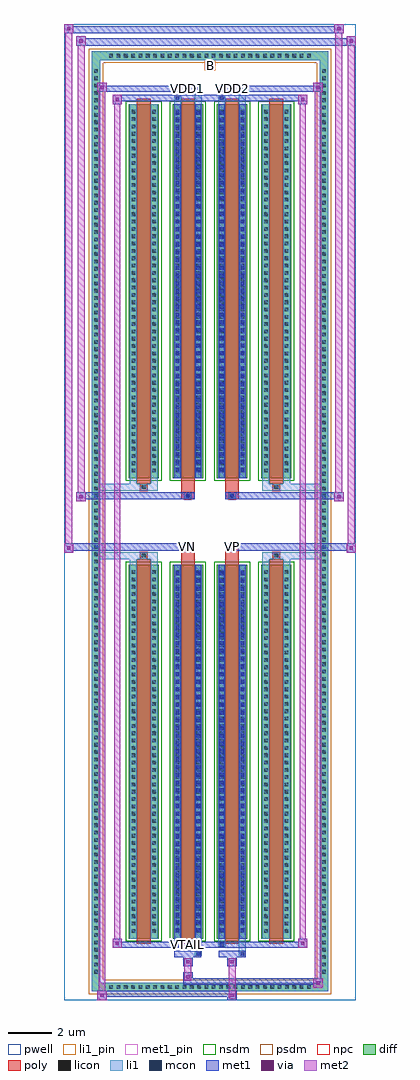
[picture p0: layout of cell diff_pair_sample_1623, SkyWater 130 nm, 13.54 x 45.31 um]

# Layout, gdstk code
import gdstk
lib = gdstk.Library(unit=1e-6, precision=5e-09)
def R(c, l, rs):  # rectangles x0, y0, x1, y1
    for r in rs: c.add(gdstk.rectangle(r[:2], r[2:], *l))
def A(c, l, x, y, w, h, nx, ny, dx, dy):  # array of equal rectangles
    R(c, l, [(x+i*dx, y+j*dy, x+i*dx+w, y+j*dy+h) for i in range(nx) for j in range(ny)])
def P(c, l, *ps):  # polygons
    for p in ps: c.add(gdstk.Polygon(p, *l))
pwell = (64, 44)
diff = (65, 20)
poly = (66, 20)
licon = (66, 44)
li1_pin = (67, 16)
li1 = (67, 20)
mcon = (67, 44)
met1_pin = (68, 16)
met1 = (68, 20)
via = (68, 44)
met2 = (69, 20)
nsdm = (93, 44)
psdm = (94, 20)
npc = (95, 20)

diff_pair_sample_1623 = lib.new_cell('diff_pair_sample_1623')
R(diff_pair_sample_1623, pwell, [(-6.77,-22.22,6.77,23.09), (-4.09,-20.41,-0.01,-0.825), (0.01,-20.41,4.09,-0.825), (-4.09,0.825,-0.01,20.41), (0.01,0.825,4.09,20.41)])
A(diff_pair_sample_1623, diff, -4.795, -21.82, 0.41, 0.41, 28, 2, 0.34, 43.23)
A(diff_pair_sample_1623, diff, -5.5, -21.115, 0.41, 0.41, 1, 124, 0, 0.34)
A(diff_pair_sample_1623, diff, 5.09, -21.115, 0.41, 0.41, 1, 124, 0, 0.34)
A(diff_pair_sample_1623, diff, -3.78, -19.365, 1.41, 17.36, 4, 2, 2.05, 21.37)
R(diff_pair_sample_1623, diff, [(-4.795,-21.82,4.795,-21.41), (-5.5,-21.115,-5.09,21.115), (5.09,-21.115,5.5,21.115), (-4.795,21.41,4.795,21.82)])
P(diff_pair_sample_1623, diff, [(5.5,21.82),(-5.5,21.82),(-5.5,-21.41),(-5.09,-21.41),(-5.09,21.41),(5.09,21.41),(5.09,-21.41),(-5.09,-21.41),(-5.5,-21.41),(-5.5,-21.82),(5.5,-21.82)])
A(diff_pair_sample_1623, poly, -3.39, -19.615, 0.63, 17.86, 4, 2, 2.05, 21.37)
R(diff_pair_sample_1623, poly, [(-3.24,-1.755,-2.91,-1.425), (-3.24,-1.755,-2.91,-1.425), (-1.34,-1.755,-0.71,-1.355), (0.71,-1.755,1.34,-1.355), (2.91,-1.755,3.24,-1.425), (2.91,-1.755,3.24,-1.425), (-1.34,-1.355,-0.71,-1.025), (-1.19,-1.355,-0.86,-1.025), (0.71,-1.355,1.34,-1.025), (0.86,-1.355,1.19,-1.025), (-1.34,1.025,-0.71,1.355), (-1.19,1.025,-0.86,1.355), (0.71,1.025,1.34,1.355), (0.86,1.025,1.19,1.355), (-1.34,1.355,-0.71,1.755), (0.71,1.355,1.34,1.755), (-3.24,1.425,-2.91,1.755), (-3.24,1.425,-2.91,1.755), (2.91,1.425,3.24,1.755), (2.91,1.425,3.24,1.755)])
A(diff_pair_sample_1623, licon, -4.675, -21.7, 0.17, 0.17, 28, 2, 0.34, 43.23)
A(diff_pair_sample_1623, licon, -5.38, -20.995, 0.17, 0.17, 1, 124, 0, 0.34)
A(diff_pair_sample_1623, licon, 5.21, -20.995, 0.17, 0.17, 1, 124, 0, 0.34)
A(diff_pair_sample_1623, licon, -3.64, -19.1, 0.17, 0.17, 1, 50, 0, 0.34)
A(diff_pair_sample_1623, licon, -2.68, -19.1, 0.17, 0.17, 1, 50, 0, 0.34)
A(diff_pair_sample_1623, licon, -1.59, -19.1, 0.17, 0.17, 1, 50, 0, 0.34)
A(diff_pair_sample_1623, licon, -0.63, -19.1, 0.17, 0.17, 1, 50, 0, 0.34)
A(diff_pair_sample_1623, licon, 0.46, -19.1, 0.17, 0.17, 1, 50, 0, 0.34)
A(diff_pair_sample_1623, licon, 1.42, -19.1, 0.17, 0.17, 1, 50, 0, 0.34)
A(diff_pair_sample_1623, licon, 2.51, -19.1, 0.17, 0.17, 1, 50, 0, 0.34)
A(diff_pair_sample_1623, licon, 3.47, -19.1, 0.17, 0.17, 1, 50, 0, 0.34)
A(diff_pair_sample_1623, licon, -3.64, 2.27, 0.17, 0.17, 1, 50, 0, 0.34)
A(diff_pair_sample_1623, licon, -2.68, 2.27, 0.17, 0.17, 1, 50, 0, 0.34)
A(diff_pair_sample_1623, licon, -1.59, 2.27, 0.17, 0.17, 1, 50, 0, 0.34)
A(diff_pair_sample_1623, licon, -0.63, 2.27, 0.17, 0.17, 1, 50, 0, 0.34)
A(diff_pair_sample_1623, licon, 0.46, 2.27, 0.17, 0.17, 1, 50, 0, 0.34)
A(diff_pair_sample_1623, licon, 1.42, 2.27, 0.17, 0.17, 1, 50, 0, 0.34)
A(diff_pair_sample_1623, licon, 2.51, 2.27, 0.17, 0.17, 1, 50, 0, 0.34)
A(diff_pair_sample_1623, licon, 3.47, 2.27, 0.17, 0.17, 1, 50, 0, 0.34)
R(diff_pair_sample_1623, licon, [(-3.16,-1.675,-2.99,-1.505), (2.99,-1.675,3.16,-1.505), (-1.11,-1.275,-0.94,-1.105), (0.94,-1.275,1.11,-1.105), (-1.11,1.105,-0.94,1.275), (0.94,1.105,1.11,1.275), (-3.16,1.505,-2.99,1.675), (2.99,1.505,3.16,1.675)])
R(diff_pair_sample_1623, li1_pin, [(-0.25,20.91,0.25,21.41)])
A(diff_pair_sample_1623, li1, -4.755, -21.78, 0.33, 0.33, 28, 2, 0.34, 43.23)
A(diff_pair_sample_1623, li1, -5.46, -21.075, 0.33, 0.33, 1, 124, 0, 0.34)
A(diff_pair_sample_1623, li1, 5.13, -21.075, 0.33, 0.33, 1, 124, 0, 0.34)
A(diff_pair_sample_1623, li1, -3.72, -19.18, 0.33, 0.33, 1, 50, 0, 0.34)
A(diff_pair_sample_1623, li1, -2.76, -19.18, 0.33, 0.33, 1, 50, 0, 0.34)
A(diff_pair_sample_1623, li1, -1.67, -19.18, 0.33, 0.33, 1, 50, 0, 0.34)
A(diff_pair_sample_1623, li1, -0.71, -19.18, 0.33, 0.33, 1, 50, 0, 0.34)
A(diff_pair_sample_1623, li1, 0.38, -19.18, 0.33, 0.33, 1, 50, 0, 0.34)
A(diff_pair_sample_1623, li1, 1.34, -19.18, 0.33, 0.33, 1, 50, 0, 0.34)
A(diff_pair_sample_1623, li1, 2.43, -19.18, 0.33, 0.33, 1, 50, 0, 0.34)
A(diff_pair_sample_1623, li1, 3.39, -19.18, 0.33, 0.33, 1, 50, 0, 0.34)
A(diff_pair_sample_1623, li1, -1.59, -19.05, 0.17, 0.17, 1, 47, 0, 0.36)
A(diff_pair_sample_1623, li1, -0.63, -19.05, 0.17, 0.17, 1, 47, 0, 0.36)
A(diff_pair_sample_1623, li1, 0.46, -19.05, 0.17, 0.17, 1, 47, 0, 0.36)
A(diff_pair_sample_1623, li1, 1.42, -19.05, 0.17, 0.17, 1, 47, 0, 0.36)
A(diff_pair_sample_1623, li1, -3.72, 2.19, 0.33, 0.33, 1, 50, 0, 0.34)
A(diff_pair_sample_1623, li1, -2.76, 2.19, 0.33, 0.33, 1, 50, 0, 0.34)
A(diff_pair_sample_1623, li1, -1.67, 2.19, 0.33, 0.33, 1, 50, 0, 0.34)
A(diff_pair_sample_1623, li1, -0.71, 2.19, 0.33, 0.33, 1, 50, 0, 0.34)
A(diff_pair_sample_1623, li1, 0.38, 2.19, 0.33, 0.33, 1, 50, 0, 0.34)
A(diff_pair_sample_1623, li1, 1.34, 2.19, 0.33, 0.33, 1, 50, 0, 0.34)
A(diff_pair_sample_1623, li1, 2.43, 2.19, 0.33, 0.33, 1, 50, 0, 0.34)
A(diff_pair_sample_1623, li1, 3.39, 2.19, 0.33, 0.33, 1, 50, 0, 0.34)
A(diff_pair_sample_1623, li1, -1.59, 2.32, 0.17, 0.17, 1, 47, 0, 0.36)
A(diff_pair_sample_1623, li1, -0.63, 2.32, 0.17, 0.17, 1, 47, 0, 0.36)
A(diff_pair_sample_1623, li1, 0.46, 2.32, 0.17, 0.17, 1, 47, 0, 0.36)
A(diff_pair_sample_1623, li1, 1.42, 2.32, 0.17, 0.17, 1, 47, 0, 0.36)
R(diff_pair_sample_1623, li1, [(-5.5,-21.82,-5.09,-21.41), (-5.5,-21.82,-5.09,-21.41), (-5.09,-21.82,5.09,-21.41), (5.09,-21.82,5.5,-21.41), (5.09,-21.82,5.5,-21.41), (-5.5,-21.41,-5.09,21.41), (5.09,-21.41,5.5,21.41), (-0.71,-20.17,-0.38,-19.365), (-0.63,-20.17,-0.46,-20), (1.34,-20.17,1.67,-19.365), (1.42,-20.17,1.59,-20), (-1.67,-19.74,-1.34,-19.365), (-1.59,-19.74,-1.42,-19.57), (0.38,-19.74,0.71,-19.365), (0.46,-19.74,0.63,-19.57), (-3.72,-19.365,-3.39,-2.005), (-2.76,-19.365,-2.43,-2.005), (-1.67,-19.365,-1.34,-2.005), (-0.71,-19.365,-0.38,-2.005), (0.38,-19.365,0.71,-2.005), (1.34,-19.365,1.67,-2.005), (2.43,-19.365,2.76,-2.005), (3.39,-19.365,3.72,-2.005), (-1.59,-19.05,-1.42,-2.32), (-0.63,-19.05,-0.46,-2.32), (0.46,-19.05,0.63,-2.32), (1.42,-19.05,1.59,-2.32), (-3.72,-2.005,-3.39,-1.425), (-2.76,-2.005,-2.43,-1.425), (2.43,-2.005,2.76,-1.425), (3.39,-2.005,3.72,-1.425), (-5.5,-1.755,-3.24,-1.425), (-3.72,-1.755,-3.24,-1.425), (-3.24,-1.755,-2.91,-1.425), (-2.91,-1.755,-2.43,-1.425), (2.43,-1.755,2.91,-1.425), (2.91,-1.755,3.24,-1.425), (2.91,-1.755,5.5,-1.425), (3.24,-1.755,3.72,-1.425), (-1.19,-1.355,-0.86,-1.025), (0.86,-1.355,1.19,-1.025), (-1.19,1.025,-0.86,1.355), (0.86,1.025,1.19,1.355), (-5.5,1.425,-3.24,1.755), (-3.72,1.425,-3.24,1.755), (-3.72,1.425,-3.39,2.005), (-3.24,1.425,-2.91,1.755), (-2.91,1.425,-2.43,1.755), (-2.76,1.425,-2.43,2.005), (2.43,1.425,2.91,1.755), (2.43,1.425,2.76,2.005), (2.91,1.425,3.24,1.755), (2.91,1.425,5.5,1.755), (3.24,1.425,3.72,1.755), (3.39,1.425,3.72,2.005), (-3.72,2.005,-3.39,19.365), (-2.76,2.005,-2.43,19.365), (-1.67,2.005,-1.34,19.365), (-0.71,2.005,-0.38,19.365), (0.38,2.005,0.71,19.365), (1.34,2.005,1.67,19.365), (2.43,2.005,2.76,19.365), (3.39,2.005,3.72,19.365), (-1.59,2.32,-1.42,19.05), (-0.63,2.32,-0.46,19.05), (0.46,2.32,0.63,19.05), (1.42,2.32,1.59,19.05), (-1.67,19.365,-1.34,19.74), (-0.71,19.365,-0.38,20.17), (0.38,19.365,0.71,19.74), (1.34,19.365,1.67,20.17), (-1.59,19.57,-1.42,19.74), (0.46,19.57,0.63,19.74), (-0.63,20,-0.46,20.17), (1.42,20,1.59,20.17), (-5.5,21.41,-5.09,21.82), (-5.5,21.41,-5.09,21.82), (-5.09,21.41,5.09,21.82), (5.09,21.41,5.5,21.82), (5.09,21.41,5.5,21.82)])
A(diff_pair_sample_1623, mcon, -1.59, -19.05, 0.17, 0.17, 1, 47, 0, 0.36)
A(diff_pair_sample_1623, mcon, -0.63, -19.05, 0.17, 0.17, 1, 47, 0, 0.36)
A(diff_pair_sample_1623, mcon, 0.46, -19.05, 0.17, 0.17, 1, 47, 0, 0.36)
A(diff_pair_sample_1623, mcon, 1.42, -19.05, 0.17, 0.17, 1, 47, 0, 0.36)
A(diff_pair_sample_1623, mcon, -1.59, 2.32, 0.17, 0.17, 1, 47, 0, 0.36)
A(diff_pair_sample_1623, mcon, -0.63, 2.32, 0.17, 0.17, 1, 47, 0, 0.36)
A(diff_pair_sample_1623, mcon, 0.46, 2.32, 0.17, 0.17, 1, 47, 0, 0.36)
A(diff_pair_sample_1623, mcon, 1.42, 2.32, 0.17, 0.17, 1, 47, 0, 0.36)
R(diff_pair_sample_1623, mcon, [(-0.63,-20.17,-0.46,-20), (1.42,-20.17,1.59,-20), (-1.59,-19.74,-1.42,-19.57), (0.46,-19.74,0.63,-19.57), (-1.11,-1.275,-0.94,-1.105), (0.94,-1.275,1.11,-1.105), (-1.11,1.105,-0.94,1.275), (0.94,1.105,1.11,1.275), (-1.59,19.57,-1.42,19.74), (0.46,19.57,0.63,19.74), (-0.63,20,-0.46,20.17), (1.42,20,1.59,20.17)])
R(diff_pair_sample_1623, met1_pin, [(-1.16,-19.78,-0.89,-19.51), (-1.16,-1.295,-0.89,-1.025), (0.89,-1.295,1.16,-1.025), (-1.16,19.96,-0.89,20.23), (0.89,19.96,1.16,20.23)])
A(diff_pair_sample_1623, met1, -1.65, -19.11, 0.29, 0.29, 1, 47, 0, 0.36)
A(diff_pair_sample_1623, met1, -0.69, -19.11, 0.29, 0.29, 1, 47, 0, 0.36)
A(diff_pair_sample_1623, met1, 0.4, -19.11, 0.29, 0.29, 1, 47, 0, 0.36)
A(diff_pair_sample_1623, met1, 1.36, -19.11, 0.29, 0.29, 1, 47, 0, 0.36)
A(diff_pair_sample_1623, met1, -1.65, 2.26, 0.29, 0.29, 1, 47, 0, 0.36)
A(diff_pair_sample_1623, met1, -0.69, 2.26, 0.29, 0.29, 1, 47, 0, 0.36)
A(diff_pair_sample_1623, met1, 0.4, 2.26, 0.29, 0.29, 1, 47, 0, 0.36)
A(diff_pair_sample_1623, met1, 1.36, 2.26, 0.29, 0.29, 1, 47, 0, 0.36)
R(diff_pair_sample_1623, met1, [(-5.23,-22.22,-4.8,-21.79), (0.81,-22.22,1.24,-21.79), (-5.23,-22.08,1.24,-21.79), (4.8,-21.65,5.23,-21.22), (-1.24,-21.51,5.23,-21.22), (-1.24,-21.37,-0.81,-20.94), (-1.24,-20.66,-0.81,-20.23), (0.81,-20.66,1.24,-20.23), (-1.65,-20.23,-0.4,-19.94), (-0.69,-20.23,-0.4,-19.94), (0.4,-20.23,1.65,-19.94), (1.36,-20.23,1.65,-19.94), (-4.52,-19.8,-4.09,-19.37), (-4.52,-19.8,-1.65,-19.51), (-1.65,-19.8,-1.36,-19.51), (-1.65,-19.8,-0.4,-19.51), (-0.4,-19.8,0.4,-19.51), (0.4,-19.8,0.69,-19.51), (0.4,-19.8,1.65,-19.51), (1.65,-19.8,4.52,-19.51), (4.09,-19.8,4.52,-19.37), (-1.65,-19.365,-1.36,-2.005), (-0.69,-19.365,-0.4,-2.005), (0.4,-19.365,0.69,-2.005), (1.36,-19.365,1.65,-2.005), (-6.77,-1.455,-6.34,-1.025), (6.34,-1.455,6.77,-1.025), (-6.77,-1.355,-0.71,-1.025), (-1.34,-1.355,-0.71,-1.025), (0.71,-1.355,1.34,-1.025), (0.71,-1.355,6.77,-1.025), (-1.17,-1.335,-0.88,-1.045), (0.88,-1.335,1.17,-1.045), (-6.2,0.925,-5.77,1.355), (5.77,0.925,6.2,1.355), (-6.2,1.025,-1.34,1.355), (-1.34,1.025,-0.71,1.355), (0.71,1.025,1.34,1.355), (1.34,1.025,6.2,1.355), (-1.17,1.045,-0.88,1.335), (0.88,1.045,1.17,1.335), (-1.65,2.005,-1.36,19.365), (-0.69,2.005,-0.4,19.365), (0.4,2.005,0.69,19.365), (1.36,2.005,1.65,19.365), (-4.52,19.37,-4.09,19.8), (4.09,19.37,4.52,19.8), (-4.52,19.51,-1.65,19.8), (-1.65,19.51,-1.36,19.8), (-1.65,19.51,-0.4,19.8), (-0.4,19.51,0.4,19.8), (0.4,19.51,0.69,19.8), (0.4,19.51,1.65,19.8), (1.65,19.51,4.52,19.8), (-5.23,19.94,-4.8,20.37), (-5.23,19.94,-1.65,20.23), (-1.65,19.94,-0.4,20.23), (-0.69,19.94,-0.4,20.23), (0.4,19.94,1.65,20.23), (1.36,19.94,1.65,20.23), (1.65,19.94,5.23,20.23), (4.8,19.94,5.23,20.37), (-6.2,22.09,-5.77,22.52), (-6.2,22.09,-4.09,22.42), (-4.09,22.09,4.09,22.42), (4.09,22.09,6.77,22.42), (6.34,22.09,6.77,22.52), (-6.77,22.66,-6.34,23.09), (-6.77,22.66,-4.09,22.99), (-4.09,22.66,4.09,22.99), (4.09,22.66,6.2,22.99), (5.77,22.66,6.2,23.09)])
R(diff_pair_sample_1623, via, [(-5.09,-22.08,-4.94,-21.93), (0.95,-22.08,1.1,-21.93), (4.94,-21.51,5.09,-21.36), (-1.1,-21.23,-0.95,-21.08), (-1.1,-20.52,-0.95,-20.37), (0.95,-20.52,1.1,-20.37), (-4.38,-19.66,-4.23,-19.51), (4.23,-19.66,4.38,-19.51), (-6.63,-1.315,-6.48,-1.165), (6.48,-1.315,6.63,-1.165), (-6.06,1.065,-5.91,1.215), (5.91,1.065,6.06,1.215), (-4.38,19.51,-4.23,19.66), (4.23,19.51,4.38,19.66), (-5.09,20.08,-4.94,20.23), (4.94,20.08,5.09,20.23), (-6.06,22.23,-5.91,22.38), (6.48,22.23,6.63,22.38), (-6.63,22.8,-6.48,22.95), (5.91,22.8,6.06,22.95)])
R(diff_pair_sample_1623, met2, [(-5.23,-22.22,-4.8,-21.79), (-5.16,-22.22,-4.87,20.37), (-4.87,-22.22,-4.8,-21.79), (-5.18,-22.17,-4.85,-21.84), (0.86,-22.17,1.19,-21.84), (0.86,-21.84,1.19,-20.61), (4.8,-21.65,5.23,-21.22), (4.87,-21.65,5.16,20.37), (5.16,-21.65,5.23,-21.22), (4.85,-21.6,5.18,-21.27), (-1.19,-21.32,-0.86,-20.99), (-1.19,-20.99,-0.86,-20.61), (-1.19,-20.61,-0.86,-20.28), (0.86,-20.61,1.19,-20.28), (-4.52,-19.8,-4.09,-19.37), (-4.45,-19.8,-4.16,19.8), (-4.16,-19.8,-4.09,-19.37), (4.09,-19.8,4.52,-19.37), (4.16,-19.8,4.45,19.8), (4.45,-19.8,4.52,-19.37), (-4.47,-19.75,-4.14,-19.42), (4.14,-19.75,4.47,-19.42), (-6.77,-1.455,-6.34,-1.025), (-6.72,-1.455,-6.39,23.09), (-6.39,-1.455,-6.34,-1.025), (6.34,-1.455,6.77,-1.025), (6.39,-1.455,6.72,22.52), (6.72,-1.455,6.77,-1.025), (-6.72,-1.405,-6.39,-1.075), (6.39,-1.405,6.72,-1.075), (-6.2,0.925,-5.77,1.355), (-6.15,0.925,-5.82,22.52), (-5.82,0.925,-5.77,1.355), (5.77,0.925,6.2,1.355), (5.82,0.925,6.15,23.09), (6.15,0.925,6.2,1.355), (-6.15,0.975,-5.82,1.305), (5.82,0.975,6.15,1.305), (-4.52,19.37,-4.09,19.8), (-4.16,19.37,-4.09,19.8), (4.09,19.37,4.52,19.8), (4.45,19.37,4.52,19.8), (-4.47,19.42,-4.14,19.75), (4.14,19.42,4.47,19.75), (-5.23,19.94,-4.8,20.37), (-4.87,19.94,-4.8,20.37), (4.8,19.94,5.23,20.37), (5.16,19.94,5.23,20.37), (-5.18,19.99,-4.85,20.32), (4.85,19.99,5.18,20.32), (-6.2,22.09,-5.77,22.52), (-5.82,22.09,-5.77,22.52), (6.34,22.09,6.77,22.52), (6.72,22.09,6.77,22.52), (-6.15,22.14,-5.82,22.47), (6.39,22.14,6.72,22.47), (-6.77,22.66,-6.34,23.09), (-6.39,22.66,-6.34,23.09), (5.77,22.66,6.2,23.09), (6.15,22.66,6.2,23.09), (-6.72,22.71,-6.39,23.04), (5.82,22.71,6.15,23.04)])
A(diff_pair_sample_1623, nsdm, -3.91, -19.495, 1.67, 17.62, 4, 2, 2.05, 21.37)
P(diff_pair_sample_1623, psdm, [(5.63,21.95),(-5.63,21.95),(-5.63,-21.28),(-4.96,-21.28),(-4.96,21.28),(4.96,21.28),(4.96,-21.28),(-4.96,-21.28),(-5.63,-21.28),(-5.63,-21.95),(5.63,-21.95)])
R(diff_pair_sample_1623, npc, [(-3.26,-1.775,-2.89,-1.405), (2.89,-1.775,3.26,-1.405), (-1.21,-1.375,-0.84,-1.005), (0.84,-1.375,1.21,-1.005), (-1.21,1.005,-0.84,1.375), (0.84,1.005,1.21,1.375), (-3.26,1.405,-2.89,1.775), (2.89,1.405,3.26,1.775)])
diff_pair_sample_1623.add(gdstk.Label('VTAIL', (-1.025,-19.645), layer=68, texttype=5))
diff_pair_sample_1623.add(gdstk.Label('VN', (-1.025,-1.16), layer=68, texttype=5))
diff_pair_sample_1623.add(gdstk.Label('VP', (1.025,-1.16), layer=68, texttype=5))
diff_pair_sample_1623.add(gdstk.Label('B', (0,21.16), layer=67, texttype=5))
diff_pair_sample_1623.add(gdstk.Label('VDD2', (1.025,20.095), layer=68, texttype=5))
diff_pair_sample_1623.add(gdstk.Label('VDD1', (-1.025,20.095), layer=68, texttype=5))

lib.write_gds('diff_pair_sample_1623.gds')
